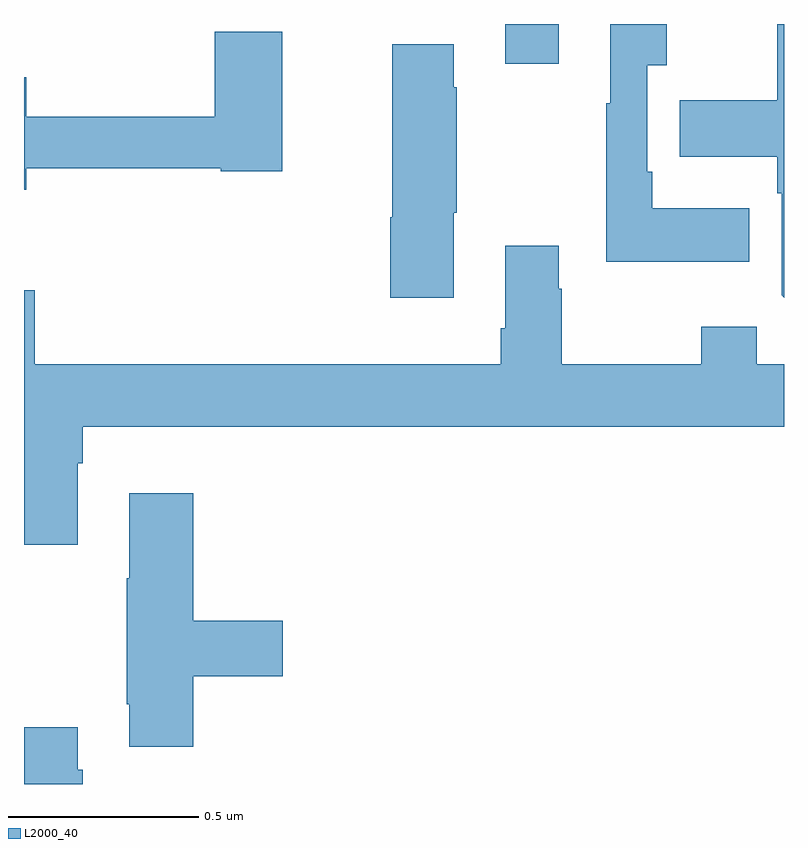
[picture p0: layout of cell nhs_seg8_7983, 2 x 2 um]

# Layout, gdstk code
import gdstk
lib = gdstk.Library(unit=1e-6, precision=1e-09)
def R(c, l, rs):  # rectangles x0, y0, x1, y1
    for r in rs: c.add(gdstk.rectangle(r[:2], r[2:], *l))
def P(c, l, *ps):  # polygons
    for p in ps: c.add(gdstk.Polygon(p, *l))
L2000_40 = (2000, 40)

nhs_seg8_7983 = lib.new_cell('nhs_seg8_7983')
R(nhs_seg8_7983, L2000_40, [(218.267,1110.795,218.407,1110.9)])
P(nhs_seg8_7983, L2000_40, [(219,1110.9),(218.982,1110.9),(218.982,1110.699),(218.725,1110.699),(218.725,1110.551),(218.982,1110.551),(218.982,1110.455),(218.994,1110.455),(218.994,1110.186),(219,1110.18)],
  [(218.909,1110.415),(218.653,1110.415),(218.653,1110.511),(218.64,1110.511),(218.64,1110.791),(218.692,1110.791),(218.692,1110.9),(218.543,1110.9),(218.543,1110.691),(218.532,1110.691),(218.532,1110.275),(218.909,1110.275)],
  [(217.006,1110.52),(217.518,1110.52),(217.518,1110.512),(217.68,1110.512),(217.68,1110.88),(217.502,1110.88),(217.502,1110.656),(217.006,1110.656),(217.006,1110.76),(217,1110.76),(217,1110.464),(217.006,1110.464)],
  [(218.131,1110.403),(218.139,1110.403),(218.139,1110.734),(218.131,1110.734),(218.131,1110.847),(217.969,1110.847),(217.969,1110.392),(217.964,1110.392),(217.964,1110.18),(218.131,1110.18)],
  [(217.141,1109.744),(217.154,1109.744),(217.154,1109.84),(219,1109.84),(219,1110.004),(218.928,1110.004),(218.928,1110.103),(218.782,1110.103),(218.782,1110.004),(218.415,1110.004),(218.415,1110.203),(218.407,1110.203),(218.407,1110.316),(218.267,1110.316),(218.267,1110.1),(218.255,1110.1),(218.255,1110.004),(217.028,1110.004),(217.028,1110.199),(217,1110.199),(217,1109.641),(217.001,1109.641),(217.001,1109.529),(217.141,1109.529)],
  [(217.445,1109.183),(217.681,1109.183),(217.681,1109.33),(217.445,1109.33),(217.445,1109.665),(217.277,1109.665),(217.277,1109.441),(217.27,1109.441),(217.27,1109.11),(217.277,1109.11),(217.277,1108.998),(217.445,1108.998)],
  [(217.154,1108.937),(217.141,1108.937),(217.141,1109.05),(217.001,1109.05),(217.001,1108.9),(217.154,1108.9)])

lib.write_gds('nhs_seg8_7983.gds')
